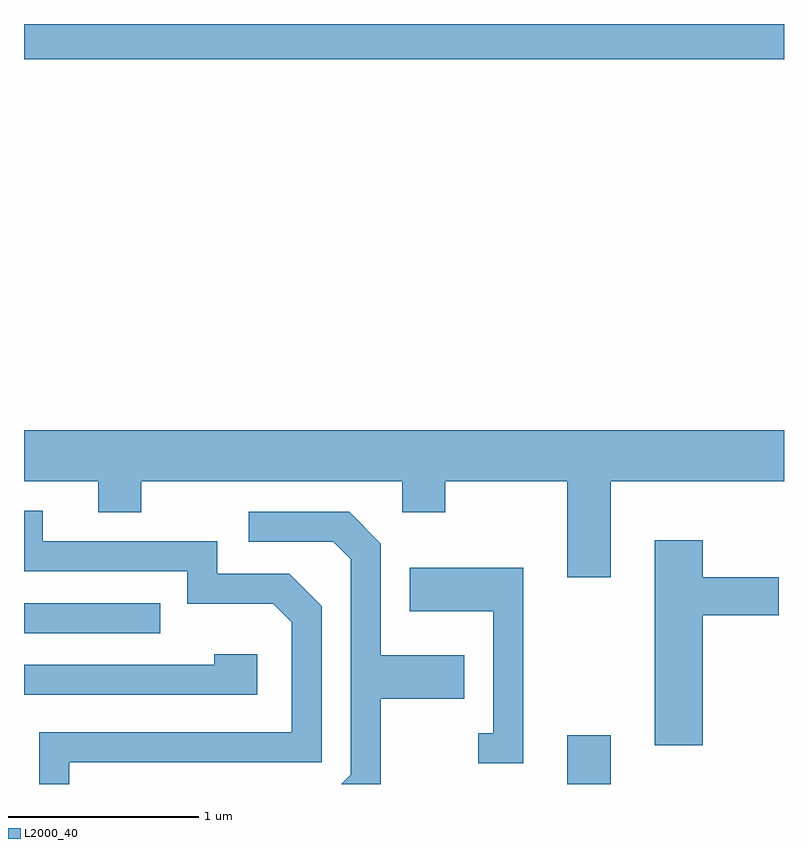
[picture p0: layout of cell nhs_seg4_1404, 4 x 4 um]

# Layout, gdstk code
import gdstk
lib = gdstk.Library(unit=1e-6, precision=1e-09)
def R(c, l, rs):  # rectangles x0, y0, x1, y1
    for r in rs: c.add(gdstk.rectangle(r[:2], r[2:], *l))
def P(c, l, *ps):  # polygons
    for p in ps: c.add(gdstk.Polygon(p, *l))
L2000_40 = (2000, 40)

nhs_seg4_1404 = lib.new_cell('nhs_seg4_1404')
R(nhs_seg4_1404, L2000_40, [(228.471,1341.982,228.699,1342.239), (225.611,1342.776,226.328,1342.934), (225.611,1345.796,229.611,1345.982)])
P(nhs_seg4_1404, L2000_40, [(228.699,1343.576),(229.611,1343.576),(229.611,1343.844),(225.611,1343.844),(225.611,1343.576),(226.001,1343.576),(226.001,1343.411),(226.229,1343.411),(226.229,1343.576),(227.601,1343.576),(227.601,1343.411),(227.829,1343.411),(227.829,1343.576),(228.471,1343.576),(228.471,1343.071),(228.699,1343.071)],
  [(225.849,1342.096),(227.179,1342.096),(227.179,1342.917),(227.007,1343.089),(226.629,1343.089),(226.629,1343.259),(225.709,1343.259),(225.709,1343.419),(225.611,1343.419),(225.611,1343.101),(226.471,1343.101),(226.471,1342.931),(226.924,1342.931),(227.021,1342.834),(227.021,1342.254),(225.691,1342.254),(225.691,1341.982),(225.849,1341.982)],
  [(227.489,1342.431),(227.929,1342.431),(227.929,1342.659),(227.489,1342.659),(227.489,1343.247),(227.322,1343.414),(226.793,1343.414),(226.793,1343.256),(227.239,1343.256),(227.331,1343.164),(227.331,1342.032),(227.282,1341.982),(227.489,1341.982)],
  [(229.184,1342.871),(229.584,1342.871),(229.584,1343.069),(229.184,1343.069),(229.184,1343.264),(228.931,1343.264),(228.931,1342.186),(229.184,1342.186)],
  [(228.239,1343.119),(227.641,1343.119),(227.641,1342.891),(228.081,1342.891),(228.081,1342.249),(228.003,1342.249),(228.003,1342.091),(228.239,1342.091)],
  [(226.839,1342.664),(226.611,1342.664),(226.611,1342.609),(225.611,1342.609),(225.611,1342.451),(226.839,1342.451)])

lib.write_gds('nhs_seg4_1404.gds')
